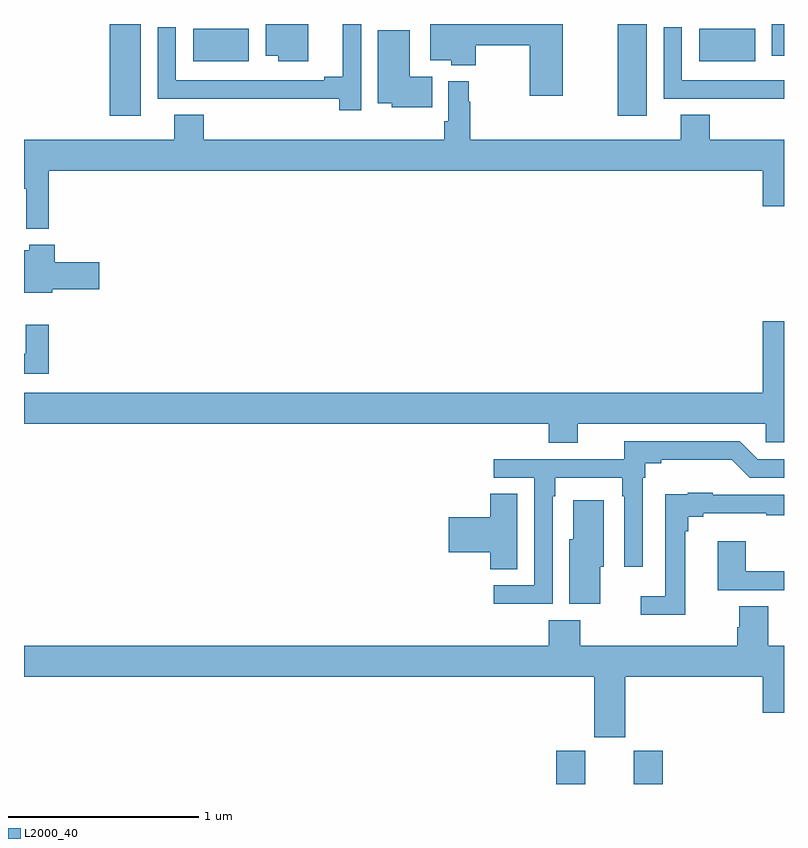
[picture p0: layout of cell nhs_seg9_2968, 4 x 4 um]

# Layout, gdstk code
import gdstk
lib = gdstk.Library(unit=1e-6, precision=1e-09)
def R(c, l, rs):  # rectangles x0, y0, x1, y1
    for r in rs: c.add(gdstk.rectangle(r[:2], r[2:], *l))
def P(c, l, *ps):  # polygons
    for p in ps: c.add(gdstk.Polygon(p, *l))
L2000_40 = (2000, 40)

nhs_seg9_2968 = lib.new_cell('nhs_seg9_2968')
R(nhs_seg9_2968, L2000_40, [(283.802,1218.5,283.954,1218.675), (284.21,1218.5,284.363,1218.675), (281.45,1222.017,281.614,1222.5), (284.125,1222.017,284.278,1222.5), (281.891,1222.304,282.184,1222.474), (284.555,1222.304,284.848,1222.474), (284.936,1222.334,285,1222.5)])
P(nhs_seg9_2968, L2000_40, [(282.774,1222.5),(282.677,1222.5),(282.677,1222.223),(282.581,1222.223),(282.581,1222.203),(281.799,1222.203),(281.799,1222.483),(281.703,1222.483),(281.703,1222.107),(282.028,1222.107),(282.028,1222.106),(282.658,1222.106),(282.658,1222.047),(282.774,1222.047)],
  [(283.836,1222.5),(283.139,1222.5),(283.139,1222.31),(283.248,1222.31),(283.248,1222.283),(283.377,1222.283),(283.377,1222.387),(283.663,1222.387),(283.663,1222.122),(283.836,1222.122)],
  [(282.496,1222.5),(282.272,1222.5),(282.272,1222.334),(282.338,1222.334),(282.338,1222.304),(282.496,1222.304)],
  [(285,1222.203),(284.463,1222.203),(284.463,1222.483),(284.367,1222.483),(284.367,1222.107),(284.692,1222.107),(284.692,1222.106),(285,1222.106)],
  [(283.148,1222.222),(283.03,1222.222),(283.03,1222.466),(282.863,1222.466),(282.863,1222.082),(282.936,1222.082),(282.936,1222.061),(283.148,1222.061)],
  [(281.129,1221.728),(284.888,1221.728),(284.888,1221.54),(285,1221.54),(285,1221.892),(284.609,1221.892),(284.609,1222.022),(284.456,1222.022),(284.456,1221.892),(283.349,1221.892),(283.349,1222.091),(283.342,1222.091),(283.342,1222.198),(283.233,1222.198),(283.233,1221.988),(283.213,1221.988),(283.213,1221.892),(281.945,1221.892),(281.945,1222.022),(281.792,1222.022),(281.792,1221.892),(281,1221.892),(281,1221.632),(281.013,1221.632),(281.013,1221.422),(281.129,1221.422)],
  [(281.149,1221.104),(281.395,1221.104),(281.395,1221.246),(281.162,1221.246),(281.162,1221.337),(281.028,1221.337),(281.028,1221.31),(281,1221.31),(281,1221.086),(281.149,1221.086)],
  [(283.915,1220.396),(284.904,1220.396),(284.904,1220.298),(285,1220.298),(285,1220.935),(284.888,1220.935),(284.888,1220.56),(281,1220.56),(281,1220.396),(283.763,1220.396),(283.763,1220.297),(283.915,1220.297)],
  [(281.131,1220.917),(281.009,1220.917),(281.009,1220.764),(281,1220.764),(281,1220.66),(281.131,1220.66)],
  [(283.782,1220.015),(283.795,1220.015),(283.795,1220.112),(284.148,1220.112),(284.148,1220.015),(284.16,1220.015),(284.16,1219.644),(284.256,1219.644),(284.256,1220.111),(284.269,1220.111),(284.269,1220.188),(284.353,1220.188),(284.353,1220.207),(284.725,1220.207),(284.82,1220.112),(285,1220.112),(285,1220.208),(284.862,1220.208),(284.766,1220.304),(284.158,1220.304),(284.158,1220.208),(283.473,1220.208),(283.473,1220.112),(283.686,1220.112),(283.686,1219.545),(283.473,1219.545),(283.473,1219.449),(283.782,1219.449)],
  [(284.479,1219.829),(284.497,1219.829),(284.497,1219.906),(284.575,1219.906),(284.575,1219.925),(284.906,1219.925),(284.906,1219.914),(285,1219.914),(285,1220.022),(284.625,1220.022),(284.625,1220.032),(284.493,1220.032),(284.493,1220.024),(284.375,1220.024),(284.375,1219.489),(284.247,1219.489),(284.247,1219.391),(284.479,1219.391)],
  [(283.597,1220.027),(283.454,1220.027),(283.454,1219.904),(283.236,1219.904),(283.236,1219.721),(283.454,1219.721),(283.454,1219.63),(283.597,1219.63)],
  [(284.032,1219.644),(284.05,1219.644),(284.05,1219.993),(283.892,1219.993),(283.892,1219.788),(283.871,1219.788),(283.871,1219.449),(284.032,1219.449)],
  [(285,1219.619),(284.799,1219.619),(284.799,1219.777),(284.651,1219.777),(284.651,1219.521),(285,1219.521)],
  [(284.164,1219.064),(284.888,1219.064),(284.888,1218.876),(285,1218.876),(285,1219.228),(284.918,1219.228),(284.918,1219.436),(284.765,1219.436),(284.765,1219.326),(284.753,1219.326),(284.753,1219.228),(283.928,1219.228),(283.928,1219.363),(283.763,1219.363),(283.763,1219.228),(281,1219.228),(281,1219.064),(284,1219.064),(284,1218.747),(284.164,1218.747)])

lib.write_gds('nhs_seg9_2968.gds')
